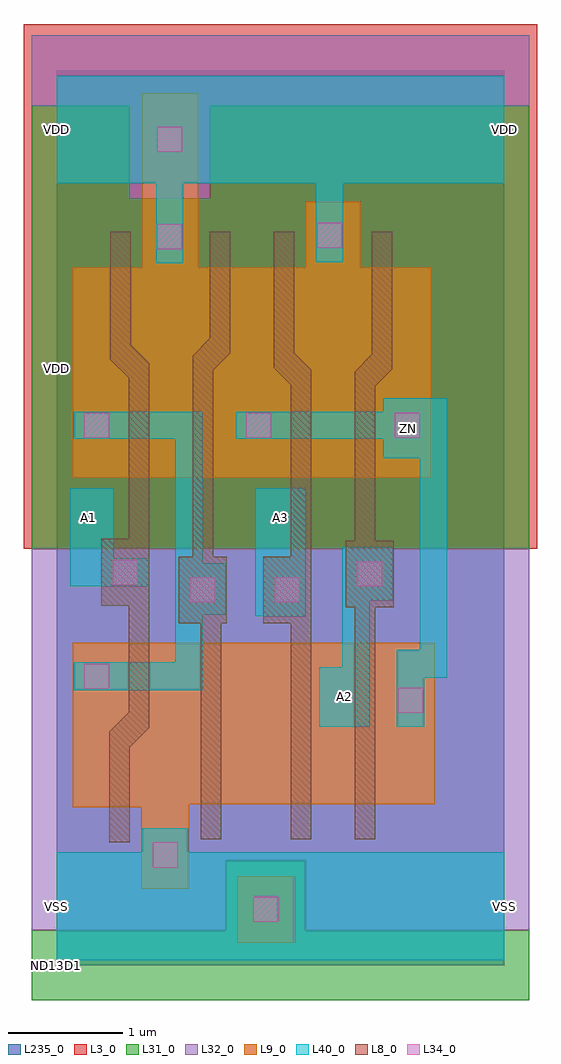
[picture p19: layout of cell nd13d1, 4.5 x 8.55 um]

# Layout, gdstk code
import gdstk
lib = gdstk.Library(unit=1e-6, precision=1e-09)
def R(c, l, rs):  # rectangles x0, y0, x1, y1
    for r in rs: c.add(gdstk.rectangle(r[:2], r[2:], *l))
def P(c, l, *ps):  # polygons
    for p in ps: c.add(gdstk.Polygon(p, *l))
L3_0 = (3, 0)
L8_0 = (8, 0)
L9_0 = (9, 0)
L31_0 = (31, 0)
L32_0 = (32, 0)
L34_0 = (34, 0)
L40_0 = (40, 0)
L235_0 = (235, 0)

nd13d1 = lib.new_cell('nd13d1')
R(nd13d1, L3_0, [(-0.29,3.65,4.21,8.245)])
P(nd13d1, L8_0, [(2.79,3.135),(2.95,3.135),(2.95,3.72),(2.79,3.72),(2.79,5.07),(2.94,5.22),(2.94,6.425),(2.76,6.425),(2.76,5.35),(2.61,5.2),(2.61,3.72),(2.53,3.72),(2.53,3.135),(2.61,3.135),(2.61,1.105),(2.79,1.105)],
  [(2.23,5.215),(2.08,5.365),(2.08,6.425),(1.9,6.425),(1.9,5.235),(2.05,5.085),(2.05,3.58),(1.81,3.58),(1.81,2.995),(2.05,2.995),(2.05,1.105),(2.23,1.105)],
  [(1.44,2.995),(1.49,2.995),(1.49,3.58),(1.37,3.58),(1.37,5.21),(1.52,5.36),(1.52,6.425),(1.34,6.425),(1.34,5.49),(1.19,5.34),(1.19,3.58),(1.07,3.58),(1.07,2.995),(1.26,2.995),(1.26,1.105),(1.44,1.105)],
  [(0.64,1.91),(0.81,2.08),(0.81,5.275),(0.65,5.435),(0.65,6.425),(0.47,6.425),(0.47,5.305),(0.63,5.145),(0.63,3.735),(0.39,3.735),(0.39,3.15),(0.63,3.15),(0.63,2.215),(0.46,2.045),(0.46,1.075),(0.64,1.075)])
R(nd13d1, L9_0, [(1.58,0.195,2.08,0.78)])
P(nd13d1, L9_0, [(3.31,2.825),(3.31,1.41),(1.16,1.41),(1.16,0.67),(0.74,0.67),(0.74,1.385),(0.14,1.385),(0.14,2.825)],
  [(1.24,7.64),(1.24,6.115),(2.18,6.115),(2.18,6.69),(2.66,6.69),(2.66,6.115),(3.28,6.115),(3.28,4.27),(0.14,4.27),(0.14,6.115),(0.75,6.115),(0.75,7.64)])
P(nd13d1, L31_0, [(2.18,0.92),(2.18,0.305),(4.14,0.305),(4.14,-0.305),(-0.22,-0.305),(-0.22,0.305),(1.48,0.305),(1.48,0.92)],
  [(4.14,7.53),(4.14,3.65),(-0.22,3.65),(-0.22,7.53),(0.64,7.53),(0.64,6.72),(1.34,6.72),(1.34,7.53)])
P(nd13d1, L32_0, [(4.14,3.65),(4.14,0.305),(2.18,0.305),(2.18,0.92),(1.48,0.92),(1.48,0.305),(-0.22,0.305),(-0.22,3.65)],
  [(4.14,8.145),(4.14,7.53),(1.34,7.53),(1.34,6.72),(0.64,6.72),(0.64,7.53),(-0.22,7.53),(-0.22,8.145)])
R(nd13d1, L34_0, [(1.72,0.38,1.94,0.6), (0.84,0.855,1.06,1.075), (2.99,2.21,3.21,2.43), (0.24,2.42,0.46,2.64), (1.17,3.18,1.39,3.4), (1.91,3.18,2.13,3.4), (2.63,3.32,2.85,3.54), (0.49,3.33,0.71,3.55), (0.24,4.62,0.46,4.84), (1.66,4.62,1.88,4.84), (2.96,4.62,3.18,4.84), (0.88,6.27,1.1,6.49), (2.28,6.285,2.5,6.505), (0.88,7.125,1.1,7.345)])
R(nd13d1, L40_0, [(1.74,3.055,2.18,4.18)])
P(nd13d1, L40_0, [(0,6.85),(0.87,6.85),(0.87,6.15),(1.11,6.15),(1.11,6.85),(2.27,6.85),(2.27,6.16),(2.51,6.16),(2.51,6.85),(3.92,6.85),(3.92,7.79),(0,7.79)],
  [(2.86,4.85),(1.57,4.85),(1.57,4.61),(2.86,4.61),(2.86,4.44),(3.18,4.44),(3.18,2.765),(2.98,2.765),(2.98,2.09),(3.22,2.09),(3.22,2.52),(3.42,2.52),(3.42,4.965),(2.86,4.965)],
  [(2.5,2.61),(2.3,2.61),(2.3,2.09),(2.74,2.09),(2.74,3.195),(2.94,3.195),(2.94,3.66),(2.5,3.66)],
  [(0.12,4.18),(0.12,3.32),(0.8,3.32),(0.8,3.565),(0.5,3.565),(0.5,4.18)],
  [(0.15,4.85),(0.15,4.61),(1.04,4.61),(1.04,2.655),(0.15,2.655),(0.15,2.41),(1.28,2.41),(1.28,3.07),(1.48,3.07),(1.48,3.52),(1.28,3.52),(1.28,4.85)],
  [(0.75,1.2),(0.75,0.99),(0,0.99),(0,0.045),(3.92,0.045),(3.92,0.99),(1.15,0.99),(1.15,1.2)])
R(nd13d1, L235_0, [(0,0,3.92,7.84)])
nd13d1.add(gdstk.Label('VDD', (0,5.23), layer=40, texttype=7))
nd13d1.add(gdstk.Label('VDD', (0,5.23), layer=40, texttype=7))
nd13d1.add(gdstk.Label('VDD', (0,5.23), layer=40, texttype=7))
nd13d1.add(gdstk.Label('VDD', (0,5.23), layer=40, texttype=7))
nd13d1.add(gdstk.Label('VDD', (0,5.23), layer=40, texttype=7))
nd13d1.add(gdstk.Label('Copyright (c) 2003, 2004 Synopsys, Inc.', (0,-2.24), layer=96, texttype=0))
nd13d1.add(gdstk.Label('DT. 10-Sep-2002 16:43:27', (0,-1.68), layer=96, texttype=0))
nd13d1.add(gdstk.Label('Rev. 1', (0,-1.12), layer=96, texttype=0))
nd13d1.add(gdstk.Label('3-INPUT NAND WITH 1 INVERTED INPUT, 1X DRIVE', (0,-0.56), layer=96, texttype=0))
nd13d1.add(gdstk.Label('ND13D1', (0,0), layer=96, texttype=0))
nd13d1.add(gdstk.Label('ZN', (3.08,4.7), layer=40, texttype=7))
nd13d1.add(gdstk.Label('A2', (2.52,2.35), layer=40, texttype=7))
nd13d1.add(gdstk.Label('A3', (1.96,3.92), layer=40, texttype=7))
nd13d1.add(gdstk.Label('A1', (0.28,3.92), layer=40, texttype=7))
nd13d1.add(gdstk.Label('VSS', (3.92,0.515), layer=40, texttype=7))
nd13d1.add(gdstk.Label('VDD', (3.92,7.32), layer=40, texttype=7))
nd13d1.add(gdstk.Label('VSS', (0,0.515), layer=40, texttype=7))
nd13d1.add(gdstk.Label('VDD', (0,7.32), layer=40, texttype=7))

lib.write_gds('nd13d1.gds')
